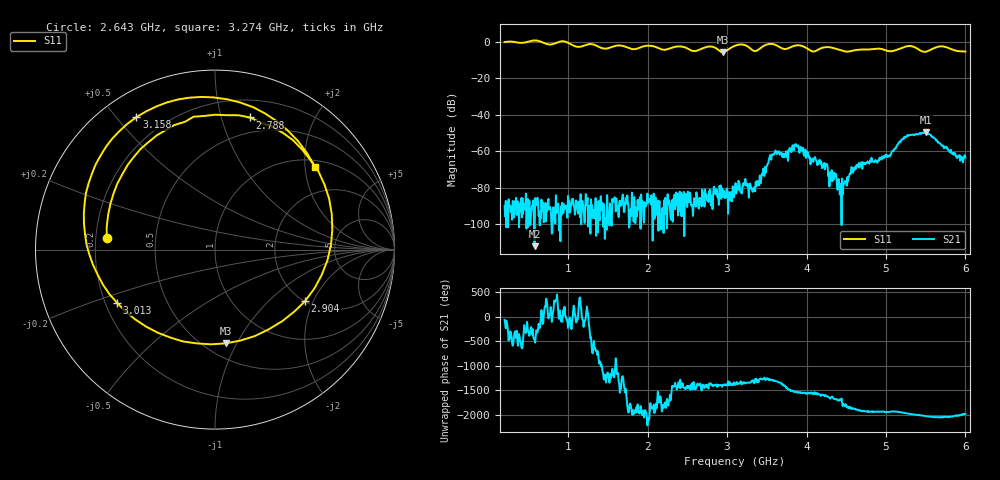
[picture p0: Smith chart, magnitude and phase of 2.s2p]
! NanoVNA-App
! Date: 2024-06-25 16:14:13
! Start: 200MHz Stop: 6GHz Points: 801
! S-Parameter data: F S11 S21 S12 S22
# Hz S RI R 50
!  Frequency  S11_Real  S11_Imag  S21_Real  S21_Imag  S12_Real  S12_Imag  S22_Real  S22_Imag
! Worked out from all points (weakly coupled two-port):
!   801 points, 200 MHz to 6 GHz, reference 50 ohm
!   highest |S21| = -49.64 dB at 5.5 GHz (marker M1); lowest = -112.2 dB at 577 MHz (marker M2)
!   lowest |S11| = -5.6 dB at 2.948 GHz (marker M3), VSWR 3.22, Z = 31.3 - j45.2 ohm
!   |S11| at or under -10 dB: nowhere
!   S12 and S22 are empty: the file has one direction only
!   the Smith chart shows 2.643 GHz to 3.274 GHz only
!   S11 on the Smith chart (normalised r, x): 2.643 GHz: 0.24, +0.05; 2.788 GHz: 0.35, +1.23; 2.904 GHz: 2.01, -1.74; 3.013 GHz: 0.25, -0.24; 3.158 GHz: 0.10, +0.57; 3.274 GHz: 1.18, +2.26
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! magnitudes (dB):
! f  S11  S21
! 200 MHz  0.0  -90.2
! 577 MHz  0.9  -112.2
! 1.171 GHz  -2.4  -88.5
! 2.136 GHz  -3.3  -103.8
! 2.643 GHz  -4.3  -91.6
! 2.788 GHz  -2.4  -81.1
! 2.904 GHz  -4.8  -79.0
! 2.948 GHz  -5.6  -85.1
! 3.013 GHz  -4.1  -94.4
! 3.1 GHz  -2.0  -81.3
! 3.158 GHz  -1.3  -77.8
! 3.274 GHz  -2.8  -85.6
! 3.376 GHz  -4.7  -76.4
! 3.593 GHz  -1.3  -61.1
! 3.876 GHz  -1.7  -57.1
! 4.072 GHz  -5.0  -64.1
! 4.412 GHz  -4.2  -78.4
! 4.659 GHz  -4.2  -66.4
! 5.036 GHz  -5.0  -62.3
! 5.246 GHz  -2.5  -52.2
! 5.5 GHz  -5.3  -49.6
! 6 GHz  -5.2  -63.5
